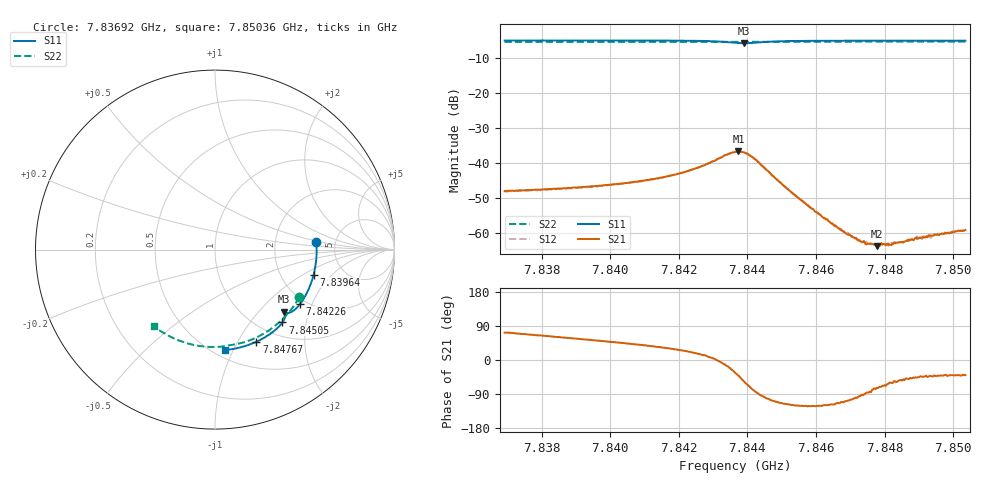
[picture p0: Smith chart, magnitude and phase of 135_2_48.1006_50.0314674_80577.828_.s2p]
#  HZ  S  RI  R  50.00
! Rohde & Schwarz Vector Network Analyzer
! Rohde-Schwarz,ZNB20-2Port,1311601062101988,3.16
! Created: UTC 12/23/2023, 3:48:11 AM
! freq[Hz]  re:S11  im:S11  re:S21  im:S21  re:S12  im:S12  re:S22  im:S22
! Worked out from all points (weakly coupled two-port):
!   401 points, 7.83692 GHz to 7.85036 GHz, reference 50 ohm
!   highest |S21| = -36.73 dB at 7.84374 GHz (marker M1); lowest = -63.9 dB at 7.84777 GHz (marker M2)
!   lowest |S11| = -5.7 dB at 7.84391 GHz (marker M3), VSWR 3.14, Z = 73.6 - j69.4 ohm
!   |S11| at or under -10 dB: nowhere
!   |S22| runs from -5.4 to -5.3 dB; largest |S21 - S12| = 0.00035
!   S11 on the Smith chart (normalised r, x): 7.83692 GHz: 3.55, +0.43; 7.83964 GHz: 3.05, -1.25; 7.84226 GHz: 1.85, -1.64; 7.84505 GHz: 1.25, -1.46; 7.84767 GHz: 0.80, -1.20; 7.85036 GHz: 0.57, -0.93
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7.836919e9  0.5647 0.041  0.0012 0.00374  0.0012 0.00371  0.4697 -0.2651
7.83917e9  0.5565 -0.1083  0.00257 0.00364  0.00255 0.0036  0.3741 -0.3899
7.839641e9  0.5495 -0.1391  0.00291 0.00362  0.00289 0.00357  0.3497 -0.4122
7.84085e9  0.5232 -0.2167  0.00416 0.00352  0.00408 0.00351  0.2813 -0.4623
7.841421e9  0.5061 -0.2525  0.00497 0.0034  0.00496 0.00338  0.2462 -0.4819
7.842261e9  0.4738 -0.3034  0.00703 0.00293  0.00697 0.00292  0.1923 -0.5059
7.843135e9  0.4237 -0.3485  0.0113 -0.00028  0.0114 -0.000264  0.1335 -0.5237
7.843639e9  0.3889 -0.352  0.0119 -0.00786  0.0119 -0.00772  0.0999 -0.5298
7.84374e9  0.3854 -0.349  0.0109 -0.00962  0.0108 -0.00962  0.0934 -0.5308
7.843908e9  0.385 -0.3452  0.0076 -0.0118  0.00774 -0.0117  0.0829 -0.5328
7.844244e9  0.3923 -0.3535  0.00115 -0.0111  0.00109 -0.011  0.0611 -0.5367
7.84505e9  0.3754 -0.4061  -0.002 -0.00428  -0.002 -0.00432  0.00478 -0.5427
7.84589e9  0.3336 -0.4496  -0.00113 -0.00188  -0.00114 -0.00186  -0.0545 -0.5408
7.846731e9  0.2865 -0.4836  -0.000389 -0.00101  -0.00044 -0.00103  -0.113 -0.5323
7.846899e9  0.2767 -0.4894  -0.000293 -0.000909  -0.000313 -0.000933  -0.1245 -0.5297
7.847302e9  0.2525 -0.5027  -6.1e-05 -0.00075  -4.36e-05 -0.000733  -0.152 -0.523
7.847503e9  0.2406 -0.5088  5.26e-05 -0.000685  8.43e-05 -0.000699  -0.1656 -0.5188
7.847671e9  0.2304 -0.5135  0.00015 -0.000664  0.000111 -0.000672  -0.1768 -0.5153
7.847772e9  0.2241 -0.5164  0.000181 -0.000611  0.000177 -0.000668  -0.1836 -0.5131
7.848142e9  0.2013 -0.5258  0.000334 -0.00058  0.000333 -0.000615  -0.2079 -0.5038
7.84952e9  0.1129 -0.5512  0.000689 -0.000633  0.000687 -0.000622  -0.2938 -0.46
7.85036e9  0.0578 -0.5593  0.000834 -0.000698  0.000806 -0.000727  -0.3416 -0.4262
